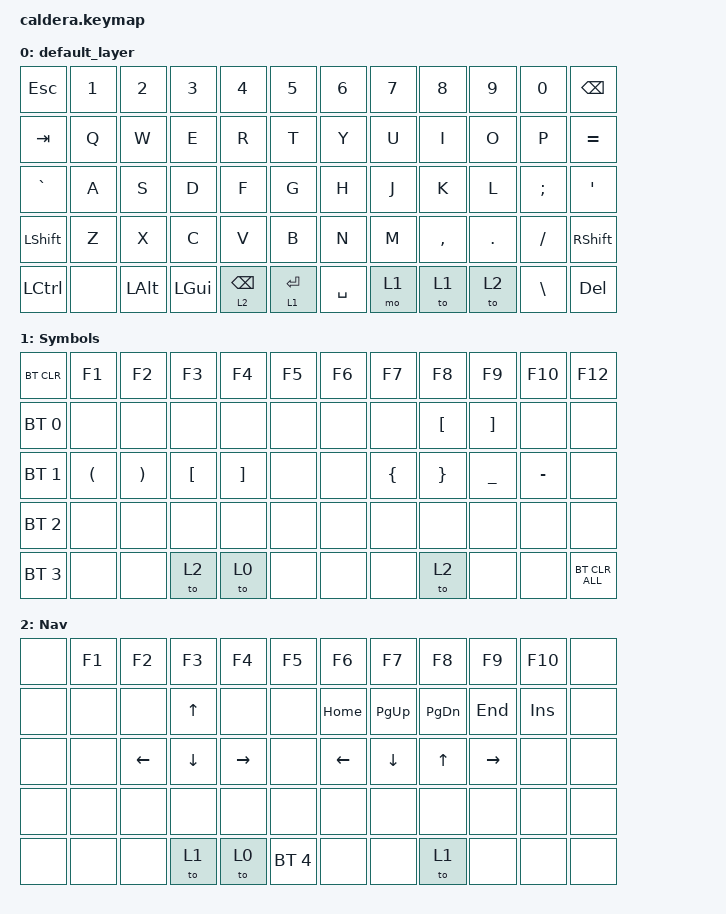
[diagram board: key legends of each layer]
/*
 * Copyright (c) 2020 The ZMK Contributors
 *
 * SPDX-License-Identifier: MIT
 */

#include <behaviors.dtsi>
#include <dt-bindings/zmk/bt.h>
#include <dt-bindings/zmk/keys.h>

/ {
    keymap {
        compatible = "zmk,keymap";

        default_layer {
            bindings = <
&kp ESCAPE  &kp N1  &kp N2    &kp N3        &kp N4           &kp N5         &kp N6     &kp N7  &kp N8     &kp N9   &kp N0         &kp BSPC
&kp TAB     &kp Q   &kp W     &kp E         &kp R            &kp T          &kp Y      &kp U   &kp I      &kp O    &kp P          &kp EQUAL
&kp GRAVE   &kp A   &kp S     &kp D         &kp F            &kp G          &kp H      &kp J   &kp K      &kp L    &kp SEMI       &kp SQT
&kp LSHFT   &kp Z   &kp X     &kp C         &kp V            &kp B          &kp N      &kp M   &kp COMMA  &kp DOT  &kp FSLH       &kp RSHFT
&kp LCTRL   &none  &kp LALT  &kp LEFT_GUI  &lt 2 BACKSPACE  &lt 1 ENTER    &kp SPACE  &mo 1   &to 1      &to 2    &kp BACKSLASH  &kp DELETE
            >;
        };

        Symbols {
            bindings = <
&bt BT_CLR    &kp F1                &kp F2                 &kp F3            &kp F4             &kp F5    &kp F6  &kp F7    &kp F8    &kp F9     &kp F10    &kp F12
&bt BT_SEL 0  &none                &none                 &none            &none             &none    &none  &none    &kp LBKT  &kp RBKT   &none     &none
&bt BT_SEL 1  &kp LEFT_PARENTHESIS  &kp RIGHT_PARENTHESIS  &kp LEFT_BRACKET  &kp RIGHT_BRACKET  &none    &none  &kp LBRC  &kp RBRC  &kp UNDER  &kp MINUS  &none
&bt BT_SEL 2  &none                &none                 &none            &none             &none    &none  &none    &none    &none     &none     &none
&bt BT_SEL 3  &none                &none                 &to 2             &to 0              &none    &none  &none    &to 2     &none     &none     &bt BT_CLR_ALL
            >;
        };

        Nav {
            bindings = <
&none  &kp F1  &kp F2    &kp F3    &kp F4     &kp F5          &kp F6    &kp F7       &kp F8         &kp F9           &kp F10     &none
&none  &none  &none    &kp UP    &none     &none          &kp HOME  &kp PAGE_UP  &kp PAGE_DOWN  &kp END          &kp INSERT  &none
&none  &none  &kp LEFT  &kp DOWN  &kp RIGHT  &none          &kp LEFT  &kp DOWN     &kp UP         &kp RIGHT_ARROW  &none      &none
&none  &none  &none    &none    &none     &none          &none    &none       &none         &none           &none      &none
&none  &none  &none    &to 1     &to 0      &bt BT_SEL 4    &none    &none       &to 1          &none           &none      &none
            >;
        };
    };
};
